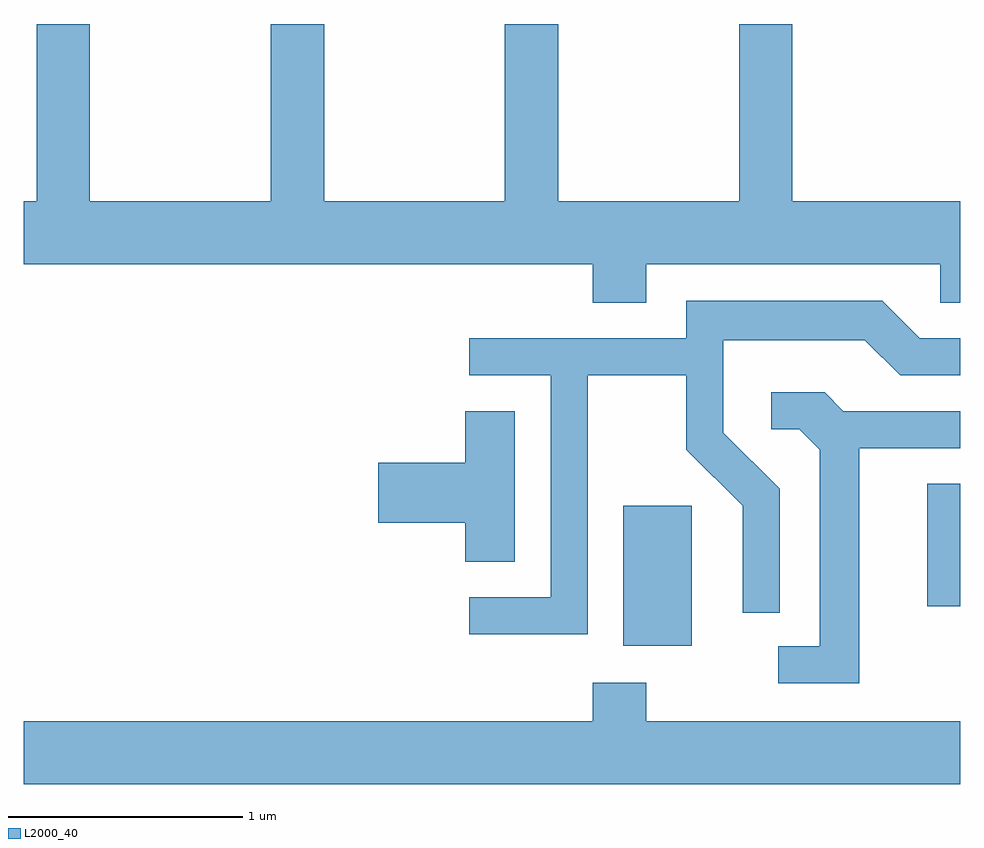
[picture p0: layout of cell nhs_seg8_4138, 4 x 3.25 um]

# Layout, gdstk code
import gdstk
lib = gdstk.Library(unit=1e-6, precision=1e-09)
def R(c, l, rs):  # rectangles x0, y0, x1, y1
    for r in rs: c.add(gdstk.rectangle(r[:2], r[2:], *l))
def P(c, l, *ps):  # polygons
    for p in ps: c.add(gdstk.Polygon(p, *l))
L2000_40 = (2000, 40)

nhs_seg8_4138 = lib.new_cell('nhs_seg8_4138')
R(nhs_seg8_4138, L2000_40, [(312.171,1823.686,312.464,1824.284), (313.471,1823.856,313.611,1824.379)])
P(nhs_seg8_4138, L2000_40, [(312.269,1825.316),(313.526,1825.316),(313.526,1825.151),(313.611,1825.151),(313.611,1825.584),(312.894,1825.584),(312.894,1826.342),(312.666,1826.342),(312.666,1825.584),(311.894,1825.584),(311.894,1826.342),(311.666,1826.342),(311.666,1825.584),(310.894,1825.584),(310.894,1826.342),(310.666,1826.342),(310.666,1825.584),(309.894,1825.584),(309.894,1826.342),(309.666,1826.342),(309.666,1825.584),(309.611,1825.584),(309.611,1825.316),(312.041,1825.316),(312.041,1825.151),(312.269,1825.151)],
  [(312.019,1824.841),(312.441,1824.841),(312.441,1824.524),(312.681,1824.284),(312.681,1823.828),(312.839,1823.828),(312.839,1824.357),(312.599,1824.597),(312.599,1824.991),(313.204,1824.991),(313.354,1824.841),(313.611,1824.841),(313.611,1824.999),(313.437,1824.999),(313.277,1825.159),(312.441,1825.159),(312.441,1824.999),(311.513,1824.999),(311.513,1824.841),(311.861,1824.841),(311.861,1823.894),(311.513,1823.894),(311.513,1823.736),(312.019,1823.736)],
  [(313.179,1824.531),(313.611,1824.531),(313.611,1824.689),(313.112,1824.689),(313.032,1824.769),(312.803,1824.769),(312.803,1824.611),(312.924,1824.611),(313.011,1824.524),(313.011,1823.684),(312.833,1823.684),(312.833,1823.526),(313.179,1823.526)],
  [(311.709,1824.689),(311.496,1824.689),(311.496,1824.469),(311.126,1824.469),(311.126,1824.211),(311.496,1824.211),(311.496,1824.046),(311.709,1824.046)],
  [(313.611,1823.364),(312.269,1823.364),(312.269,1823.529),(312.041,1823.529),(312.041,1823.364),(309.611,1823.364),(309.611,1823.096),(313.611,1823.096)])

lib.write_gds('nhs_seg8_4138.gds')
